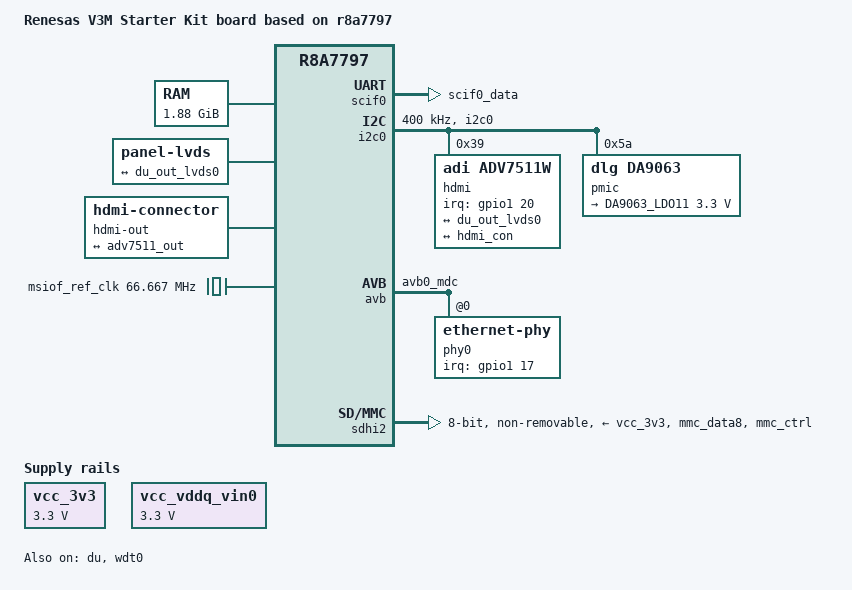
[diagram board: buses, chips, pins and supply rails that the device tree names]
/*
 * Device Tree Source for the V3M Starter Kit board on r8a7797
 *
 * Copyright (C) 2017 Renesas Electronics Corp.
 * Copyright (C) 2017 Cogent Embedded, Inc.
 *
 * This file is licensed under the terms of the GNU General Public License
 * version 2.  This program is licensed "as is" without any warranty of any
 * kind, whether express or implied.
 */

/dts-v1/;
#include "r8a77970.dtsi"
#include <dt-bindings/gpio/gpio.h>

/ {
	model = "Renesas V3M Starter Kit board based on r8a7797";
	compatible = "renesas,v3msk", "renesas,r8a7797";

	aliases {
		serial0 = &scif0;
		ethernet0 = &avb;
	};

	chosen {
		bootargs = "ignore_loglevel rw root=/dev/nfs ip=dhcp";
		stdout-path = "serial0:115200n8";
	};

	memory@48000000 {
		device_type = "memory";
		/* first 128MB is reserved for secure area. */
		reg = <0x0 0x48000000 0x0 0x78000000>;
	};

	reserved-memory {
		#address-cells = <2>;
		#size-cells = <2>;
		ranges;

		/* device specific region for Lossy Decompression */
		lossy_decompress: linux,lossy_decompress {
			no-map;
			reg = <0x00000000 0x6c000000 0x0 0x03000000>;
		};

		/* global autoconfigured region for contiguous allocations */
		linux,cma {
			compatible = "shared-dma-pool";
			reusable;
			reg = <0x00000000 0x6f000000 0x0 0x10000000>;
			linux,cma-default;
		};

		/* device specific region for contiguous allocations */
		linux,multimedia {
			compatible = "shared-dma-pool";
			reusable;
			reg = <0x00000000 0x7f000000 0x0 0x01000000>;
		};
	};

	mmngr {
		compatible = "renesas,mmngr";
		memory-region = <&lossy_decompress>;
	};

	mmngrbuf {
		compatible = "renesas,mmngrbuf";
	};

	vspm_if {
		compatible = "renesas,vspm_if";
	};

	lvds {
		compatible = "panel-lvds";

		width-mm = <210>;
		height-mm = <158>;

		data-mapping = "jeida-24";

		panel-timing {
			/* 1280x800 @60Hz */
			clock-frequency = <65000000>;
			hactive = <1280>;
			vactive = <800>;
			hsync-len = <40>;
			hfront-porch = <80>;
			hback-porch = <40>;
			vfront-porch = <14>;
			vback-porch = <14>;
			vsync-len = <4>;
		};

		port {
			lvds_in: endpoint {
				remote-endpoint = <&du_out_lvds0>;
			};
		};
	};

	hdmi-out {
		compatible = "hdmi-connector";
		type = "a";

		port {
			hdmi_con: endpoint {
				remote-endpoint = <&adv7511_out>;
			};
		};
	};

	dclkin_p0: clock-out0 {
		compatible = "fixed-clock";
		#clock-cells = <0>;
		clock-frequency = <148500000>;
	};

	msiof_ref_clk: msiof-ref-clock {
		compatible = "fixed-clock";
		#clock-cells = <0>;
		clock-frequency = <66666666>;
	};

	vcc_3v3: regulator0 {
		compatible = "regulator-fixed";
		regulator-name = "fixed-VCC3V3";
		regulator-min-microvolt = <3300000>;
		regulator-max-microvolt = <3300000>;
		regulator-boot-on;
		regulator-always-on;
	};

	vcc_vddq_vin0: regulator1 {
		compatible = "regulator-fixed";
		regulator-name = "VCC-VDDQ-VIN0";
		regulator-min-microvolt = <3300000>;
		regulator-max-microvolt = <3300000>;
		regulator-boot-on;
		regulator-always-on;
	};
};

&du {
	status = "okay";

	ports {
		port@0 {
			endpoint {
				remote-endpoint = <&adv7511_in>;
//				remote-endpoint = <&lvds_in>;
			};
		};
	};
};

&extal_clk {
	clock-frequency = <16666666>;
};

&extalr_clk {
	clock-frequency = <32768>;
};

&pfc {
	pinctrl-0 = <&scif_clk_pins>;
	pinctrl-names = "default";

	scif0_pins: scif0 {
		groups = "scif0_data";
		function = "scif0";
	};

	scif_clk_pins: scif_clk {
		groups = "scif_clk_b";
		function = "scif_clk";
	};

	i2c0_pins: i2c0 {
		groups = "i2c0";
		function = "i2c0";
	};

	avb_pins: avb {
		groups = "avb0_mdc";
		function = "avb0";
	};

	sdhi2_pins_3v3: sdhi2_3v3 {
		groups = "mmc_data8", "mmc_ctrl";
		function = "mmc";
		power-source = <3300>;
	};
};

&scif0 {
	pinctrl-0 = <&scif0_pins>;
	pinctrl-names = "default";

	status = "okay";
};

&scif_clk {
	clock-frequency = <14745600>;
	status = "okay";
};

&i2c0 {
	pinctrl-0 = <&i2c0_pins>;
	pinctrl-names = "default";

	status = "okay";
	clock-frequency = <400000>;

	hdmi@39{
		compatible = "adi,adv7511w";
		#sound-dai-cells = <0>;
		reg = <0x39>;
		interrupt-parent = <&gpio1>;
		interrupts = <20 IRQ_TYPE_LEVEL_LOW>;

		adi,input-depth = <8>;
		adi,input-colorspace = "rgb";
		adi,input-clock = "1x";
		adi,input-style = <1>;
		adi,input-justification = "evenly";

		ports {
			#address-cells = <1>;
			#size-cells = <0>;

			port@0 {
				reg = <0>;
				adv7511_in: endpoint {
					remote-endpoint = <&du_out_lvds0>;
				};
			};
			port@1 {
				reg = <1>;
				adv7511_out: endpoint {
					remote-endpoint = <&hdmi_con>;
				};
			};
		};
	};

	pmic@5A {
		compatible = "dlg,da9063";
		reg = <0x5A>;
		interrupt-parent = <&intc_ex>;
		interrupts = <0 IRQ_TYPE_LEVEL_LOW>;
		interrupt-controller;

		rtc {
			compatible = "dlg,da9063-rtc";
		};

		wdt {
			compatible = "dlg,da9063-watchdog";
		};

		regulators {
			DA9063_LDO11: bmem {
				regulator-name = "bmem";
				regulator-min-microvolt = <3300000>;
				regulator-max-microvolt = <3300000>;
				regulator-always-on;
				regulator-boot-on;
			};
		};

		onkey {
			compatible = "dlg,da9063-onkey";
		};
	};

};

&wdt0 {
	status = "okay";
};

&avb {
	pinctrl-0 = <&avb_pins>;
	pinctrl-names = "default";
	renesas,no-ether-link;
	phy-handle = <&phy0>;
	status = "okay";
	phy-int-gpio = <&gpio1 17 GPIO_ACTIVE_LOW>;

	phy0: ethernet-phy@0 {
		rxc-skew-ps = <1500>;
		rxdv-skew-ps = <420>; /* default */
		rxd0-skew-ps = <420>; /* default */
		rxd1-skew-ps = <420>; /* default */
		rxd2-skew-ps = <420>; /* default */
		rxd3-skew-ps = <420>; /* default */
		txc-skew-ps = <900>; /* default */
		txen-skew-ps = <420>; /* default */
		txd0-skew-ps = <420>; /* default */
		txd1-skew-ps = <420>; /* default */
		txd2-skew-ps = <420>; /* default */
		txd3-skew-ps = <420>; /* default */
		reg = <0>;
		interrupt-parent = <&gpio1>;
		interrupts = <17 IRQ_TYPE_LEVEL_LOW>;
		max-speed = <1000>;
	};
};

&sdhi2 {
	/* used for on-board eMMC */
	pinctrl-0 = <&sdhi2_pins_3v3>;
	pinctrl-names = "default";

	vmmc-supply = <&vcc_3v3>;
	vqmmc-supply = <&vcc_vddq_vin0>;
	no-1-8-v;
	cap-mmc-highspeed;
	bus-width = <8>;
	non-removable;
	status = "okay";
};
